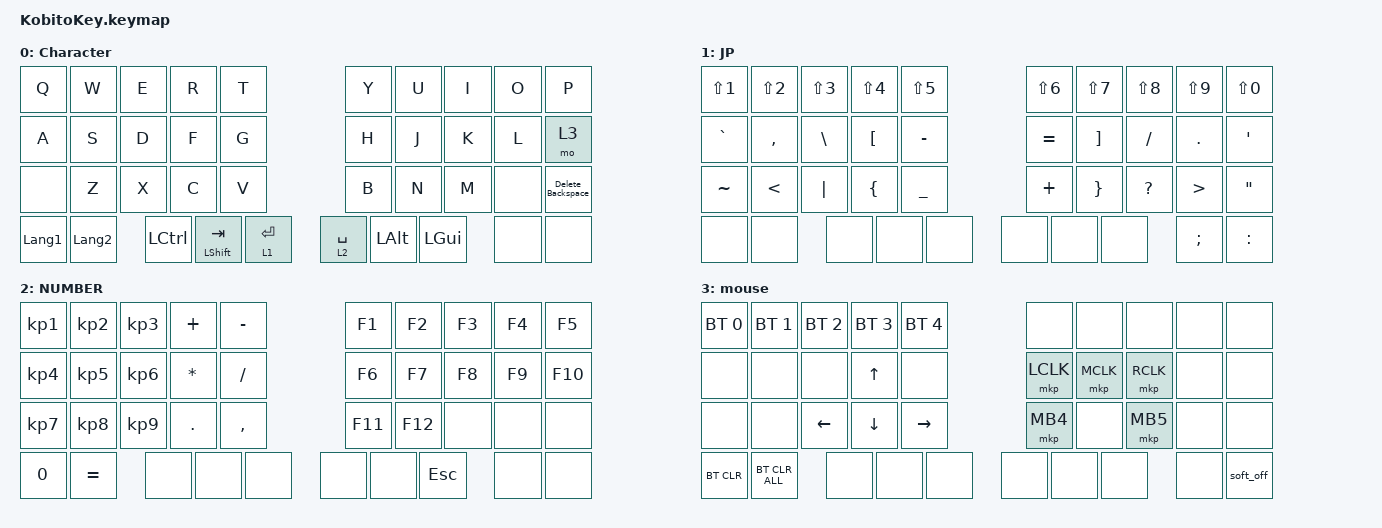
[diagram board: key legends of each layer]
#include <input/processors.dtsi>
#include <behaviors.dtsi>
#include <dt-bindings/zmk/bt.h>
#include <dt-bindings/zmk/keys.h>
#include <dt-bindings/zmk/pointing.h>

/ {
    combos { compatible = "zmk,combos"; };

    behaviors {
        Delete_Backspace: Delete_Backspace {
            compatible = "zmk,behavior-mod-morph";
            label = "DELETE_BACKSPACE";
            bindings = <&kp DELETE>, <&kp BACKSPACE>;

            #binding-cells = <0>;
            mods = <(MOD_LSFT|MOD_RSFT)>;
        };
    };

    keymap {
        compatible = "zmk,keymap";

        Character {
            bindings = <
&kp Q           &kp W           &kp E             &kp R               &kp T         &kp Y        &kp U         &kp I         &kp O  &kp P
&kp A           &kp S           &kp D             &kp F               &kp G         &kp H        &kp J         &kp K         &kp L  &mo 3
&none           &kp Z           &kp X             &kp C               &kp V         &kp B        &kp N         &kp M         &none  &Delete_Backspace
&kp LANGUAGE_1  &kp LANGUAGE_2  &kp LEFT_CONTROL  &mt LEFT_SHIFT TAB  &lt 1 RETURN  &lt 2 SPACE  &kp LEFT_ALT  &kp LEFT_GUI  &none  &none
            >;

            label = "Character";
        };

        Symbol {
            label = "JP";
            bindings = <
&kp LS(NUMBER_1)  &kp LS(NUMBER_2)  &kp LS(NUMBER_3)  &kp LS(NUMBER_4)  &kp LS(NUMBER_5)  &kp LS(NUMBER_6)  &kp LS(NUMBER_7)   &kp LS(NUMBER_8)  &kp LS(NUMBER_9)  &kp LS(NUMBER_0)
&kp GRAVE         &kp COMMA         &kp BACKSLASH     &kp LEFT_BRACKET  &kp MINUS         &kp EQUAL         &kp RIGHT_BRACKET  &kp SLASH         &kp PERIOD        &kp SINGLE_QUOTE
&kp TILDE         &kp LESS_THAN     &kp PIPE          &kp LEFT_BRACE    &kp UNDERSCORE    &kp PLUS          &kp RIGHT_BRACE    &kp QUESTION      &kp GREATER_THAN  &kp DOUBLE_QUOTES
&none             &none             &none             &none             &none             &none             &none              &none             &kp SEMICOLON     &kp COLON
            >;
        };

        Number {
            label = "NUMBER";
            bindings = <
&kp KP_NUMBER_1  &kp KP_NUMBER_2  &kp KP_NUMBER_3  &kp PLUS      &kp MINUS  &kp F1   &kp F2   &kp F3      &kp F4  &kp F5
&kp KP_NUMBER_4  &kp KP_NUMBER_5  &kp KP_NUMBER_6  &kp ASTERISK  &kp SLASH  &kp F6   &kp F7   &kp F8      &kp F9  &kp F10
&kp KP_NUMBER_7  &kp KP_NUMBER_8  &kp KP_NUMBER_9  &kp DOT       &kp COMMA  &kp F11  &kp F12  &none       &none   &none
&kp NUMBER_0     &kp EQUAL        &none            &none         &none      &none    &none    &kp ESCAPE  &none   &none
            >;
        };

        Mouse {
            label = "mouse";
            bindings = <
&bt BT_SEL 0  &bt BT_SEL 1    &bt BT_SEL 2    &bt BT_SEL 3    &bt BT_SEL 4     &none      &none      &none      &none  &none
&none         &none           &none           &kp UP_ARROW    &none            &mkp LCLK  &mkp MCLK  &mkp RCLK  &none  &none
&none         &none           &kp LEFT_ARROW  &kp DOWN_ARROW  &kp RIGHT_ARROW  &mkp MB4   &none      &mkp MB5   &none  &none
&bt BT_CLR    &bt BT_CLR_ALL  &none           &none           &none            &none      &none      &none      &none  &soft_off
            >;
        };
    };
};
